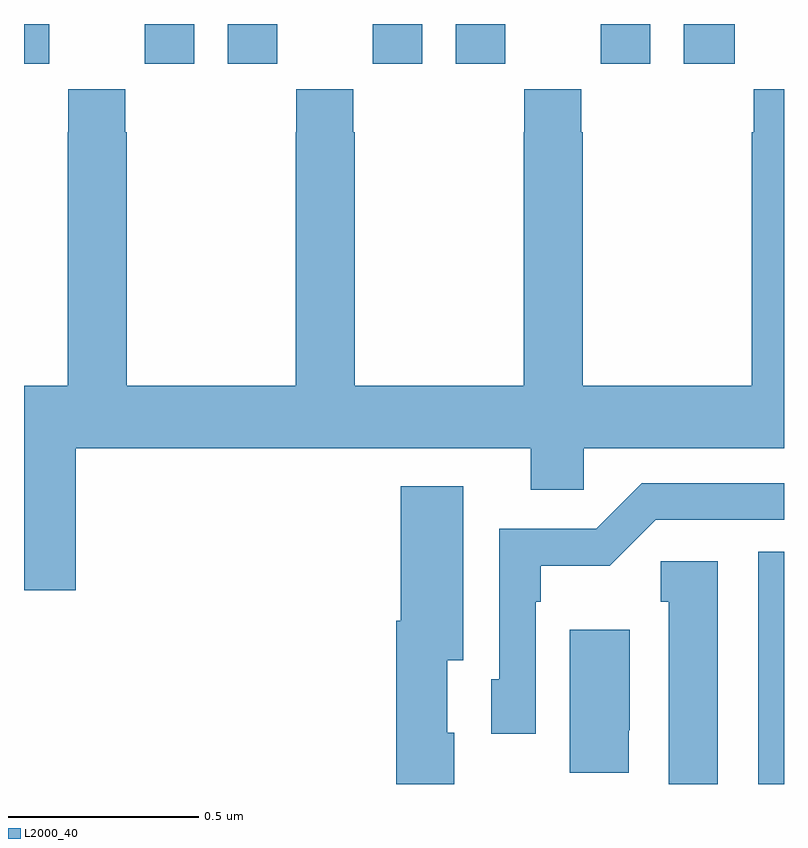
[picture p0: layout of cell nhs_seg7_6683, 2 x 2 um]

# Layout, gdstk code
import gdstk
lib = gdstk.Library(unit=1e-6, precision=1e-09)
def R(c, l, rs):  # rectangles x0, y0, x1, y1
    for r in rs: c.add(gdstk.rectangle(r[:2], r[2:], *l))
def P(c, l, *ps):  # polygons
    for p in ps: c.add(gdstk.Polygon(p, *l))
L2000_40 = (2000, 40)

nhs_seg7_6683 = lib.new_cell('nhs_seg7_6683')
R(nhs_seg7_6683, L2000_40, [(202.932,1065,203,1065.611), (201,1066.896,201.066,1067), (201.318,1066.896,201.448,1067), (201.536,1066.896,201.666,1067), (201.918,1066.896,202.048,1067), (202.136,1066.896,202.266,1067), (202.518,1066.896,202.648,1067), (202.736,1066.896,202.87,1067)])
P(nhs_seg7_6683, L2000_40, [(202.334,1065.774),(202.473,1065.774),(202.473,1065.884),(203,1065.884),(203,1066.828),(202.921,1066.828),(202.921,1066.715),(202.915,1066.715),(202.915,1066.048),(202.47,1066.048),(202.47,1066.715),(202.467,1066.715),(202.467,1066.828),(202.317,1066.828),(202.317,1066.715),(202.315,1066.715),(202.315,1066.048),(201.87,1066.048),(201.87,1066.715),(201.867,1066.715),(201.867,1066.828),(201.717,1066.828),(201.717,1066.715),(201.715,1066.715),(201.715,1066.048),(201.27,1066.048),(201.27,1066.715),(201.267,1066.715),(201.267,1066.828),(201.117,1066.828),(201.117,1066.715),(201.115,1066.715),(201.115,1066.048),(201,1066.048),(201,1065.51),(201.136,1065.51),(201.136,1065.884),(202.334,1065.884)],
  [(202.347,1065.479),(202.36,1065.479),(202.36,1065.575),(202.541,1065.575),(202.662,1065.696),(203,1065.696),(203,1065.792),(202.626,1065.792),(202.506,1065.672),(202.251,1065.672),(202.251,1065.276),(202.23,1065.276),(202.23,1065.132),(202.347,1065.132)],
  [(202.132,1065.135),(202.114,1065.135),(202.114,1065.326),(202.156,1065.326),(202.156,1065.784),(201.992,1065.784),(201.992,1065.43),(201.98,1065.43),(201.98,1065),(202.132,1065)],
  [(202.825,1065.586),(202.675,1065.586),(202.675,1065.48),(202.697,1065.48),(202.697,1065),(202.825,1065)],
  [(202.592,1065.142),(202.594,1065.142),(202.594,1065.406),(202.436,1065.406),(202.436,1065.03),(202.592,1065.03)])

lib.write_gds('nhs_seg7_6683.gds')
